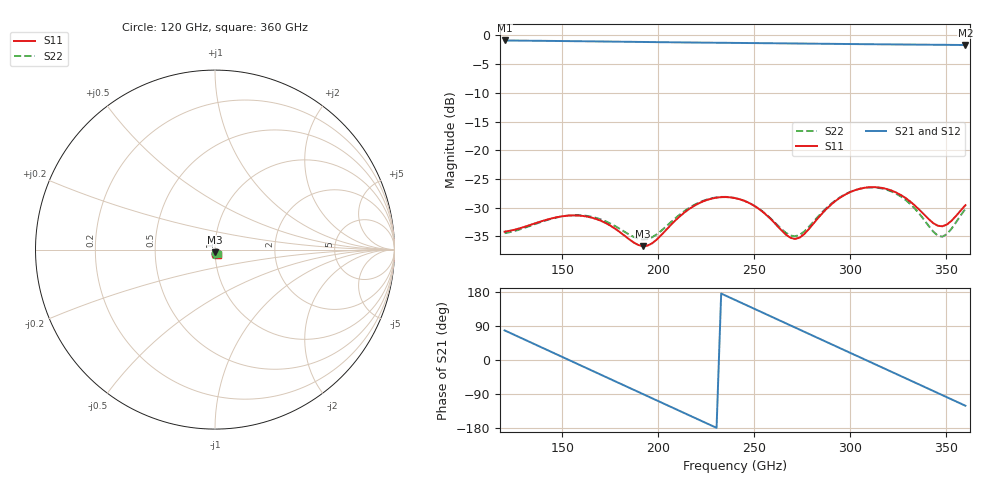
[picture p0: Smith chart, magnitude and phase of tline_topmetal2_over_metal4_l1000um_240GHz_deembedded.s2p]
! Created with skrf 2.2.0 (http://scikit-rf.org).
# GHz S DB R 50.0
! Port[1] = P1
! Port[2] = P2
!freq dBS11 angS11 dBS21 angS21 dBS12 angS12 dBS22 angS22
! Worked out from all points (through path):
!   101 points, 120 GHz to 360 GHz, reference 50 ohm
!   highest |S21| = -0.87 dB at 120 GHz (marker M1); lowest = -1.7 dB at 360 GHz (marker M2)
!   group delay of S21, straight-line fit = 6.47 ps
!   lowest |S11| = -36.7 dB at 192 GHz (marker M3), VSWR 1.03, Z = 50.1 - j1.46 ohm
!   |S11| at or under -10 dB: start of sweep to end of sweep
!   |S22| runs from -35.5 to -26.5 dB; largest |S21 - S12| = 1e-13
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120  -34.17 -74.9  -0.87 78.1  -0.87 78.1  -34.43 -74.3
129.6  -33.41 -73.8  -0.90 55.8  -0.90 55.8  -33.60 -72.6
141.6  -32.12 -77.7  -0.94 27.8  -0.94 27.8  -32.20 -76.0
151.2  -31.44 -84.9  -0.98 5.4  -0.98 5.4  -31.44 -83.0
160.8  -31.44 -94.0  -1.01 -17.0  -1.01 -17.0  -31.34 -91.6
177.6  -33.66 -105.3  -1.08 -56.2  -1.08 -56.2  -33.21 -101.9
192  -36.70 -86.4  -1.13 -89.8  -1.13 -89.8  -35.54 -86.5
201.6  -34.77 -64.4  -1.17 -112.1  -1.17 -112.1  -34.01 -68.8
220.8  -29.29 -71.1  -1.24 -156.8  -1.24 -156.8  -29.16 -74.4
230.4  -28.25 -84.0  -1.27 -179.1  -1.27 -179.1  -28.20 -86.6
240  -28.32 -97.6  -1.30 158.6  -1.30 158.6  -28.31 -99.5
261.6  -33.01 -112.2  -1.36 108.3  -1.36 108.3  -32.86 -112.4
271.2  -35.45 -89.0  -1.40 85.9  -1.40 85.9  -34.99 -90.1
280.8  -32.79 -64.3  -1.43 63.6  -1.43 63.6  -32.47 -67.6
292.8  -28.71 -66.2  -1.47 35.6  -1.47 35.6  -28.61 -69.8
302.4  -26.96 -77.4  -1.50 13.3  -1.50 13.3  -26.94 -81.1
312  -26.41 -90.9  -1.53 -9.0  -1.53 -9.0  -26.47 -94.7
321.6  -27.02 -103.7  -1.56 -31.3  -1.56 -31.3  -27.19 -108.2
333.6  -29.59 -113.0  -1.59 -59.2  -1.59 -59.2  -30.13 -118.9
345.6  -33.14 -95.7  -1.62 -87.1  -1.62 -87.1  -34.86 -98.2
350.4  -32.92 -79.9  -1.64 -98.3  -1.64 -98.3  -34.59 -76.4
360  -29.55 -64.6  -1.66 -120.7  -1.66 -120.7  -30.19 -58.2
